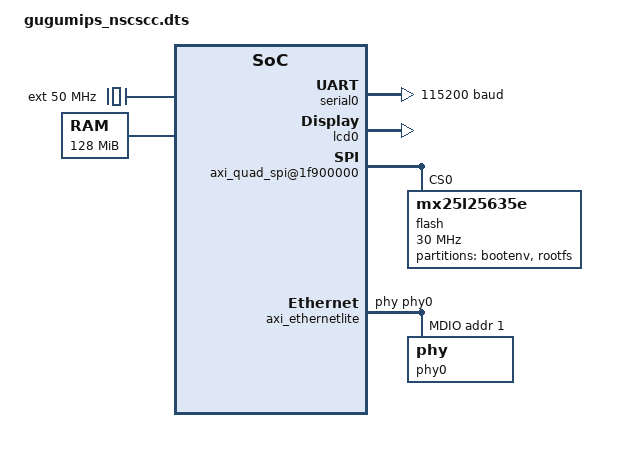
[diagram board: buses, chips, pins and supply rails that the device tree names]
/dts-v1/;

#include <dt-bindings/interrupt-controller/irq.h>

/ {
    compatible = "GuGuMIPS,NSCSCC";
    #address-cells = <1>;
    #size-cells = <1>;

    chosen {
        bootargs = "cca=0 console=ttyUL0,115200n8 rootfstype=jffs2 root=/dev/mtdblock1";
    };

    aliases {
        serial0 = &serial0;
    };

    cpus {
        #address-cells = <1>;
        #size-cells = <0>;
        cpu@0 {
            device_type = "cpu";
            compatible = "mips,4Kc";
            clocks = <&ext>;
            reg = <0>;
        };
    };

    ext: ext {
        compatible = "fixed-clock";
        #clock-cells = <0>;
    };

    memory {
        device_type = "memory";
        reg = <0x0 0x8000000>;
    };

    cpuintc: interrupt-controller@0 {
        #address-cells = <0>;
        #interrupt-cells = <1>;
        interrupt-controller;
        compatible = "mti,cpu-interrupt-controller";
    };

    soc {
        compatible = "simple-bus";
        #address-cells = <1>;
        #size-cells = <1>;
        ranges;

        axi_intc_0: interrupt-controller@1fe00000 {
            #interrupt-cells = <1>;
            compatible = "xlnx,xps-intc-1.00.a";
            interrupt-controller;
            interrupt-parent = <&cpuintc>;
            interrupts = <2>;
            reg = <0x1fe00000 0x1000>;
            xlnx,kind-of-intr = <0x27>;
            xlnx,num-intr-inputs = <0x6>;
        };


        serial0: serial@1fd00000 {
            device_type = "serial";
            compatible = "xlnx,xps-uartlite-1.00.a";
            reg = <0x1fd00000 0x1000>;
            current-speed = <115200>;
            clock-frequency = <50000000>;
            interrupt-parent = <&axi_intc_0>;
            interrupts = <1>;
        };

        lcd0: lcd@1f600000 {
            compatible = "lcd,nt35510";
            reg = <0x1f600000 0x1000>;
        };

        axi_quad_spi@1f900000 {
            #address-cells = <1>;
            #size-cells = <0>;
            compatible = "xlnx,xps-spi-2.00.a";
            interrupt-parent = <&axi_intc_0>;
            interrupts = <5>;
            reg = <0x1f900000 0x10000>;
            xlnx,num-ss-bits = <0x1>;
            num-cs = <0x1>;
            fifo-size = <256>;

            flash@0 {
                compatible = "mx25l25635e", "jedec,spi-nor";
                reg = <0x0>;
                spi-max-frequency = <30000000>;

                spi-rx-bus-width = <1>;
                m25p,fast-read;

                partitions {
                    compatible = "fixed-partitions";
                    #address-cells = <1>;
                    #size-cells = <1>;

                    partition@10000 {
                        label = "bootenv";
                        reg = <0x10000 0x10000>;
                    };
                    partition@20000 {
                        label = "rootfs";
                        reg = <0x20000 0x1fe0000>;
                    };
                };
            };
        };

        axi_ethernetlite: ethernet@1fb00000 {
            compatible = "xlnx,xps-ethernetlite-3.00.a";
            device_type = "network";
            local-mac-address = [02 02 03 03 03 03];
            phy-handle = <&phy0>;
            reg = <0x1fb00000 0x10000>;
            xlnx,duplex = <0x1>;
            xlnx,include-global-buffers = <0x1>;
            xlnx,include-internal-loopback = <0x0>;
            xlnx,include-mdio = <0x1>;
            xlnx,instance = "axi_ethernetlite_inst";
            xlnx,rx-ping-pong = <0x1>;
            xlnx,s-axi-id-width = <0x1>;
            xlnx,tx-ping-pong = <0x1>;
            xlnx,use-internal = <0x0>;
            interrupt-parent = <&axi_intc_0>;
            interrupts = <2>;
            mdio {
                #address-cells = <1>;
                #size-cells = <0>;
                phy0: phy@1 {
                    device_type = "ethernet-phy";
                    reg = <1>;
                };
            };
        };

        ps2: ps2@1f800000 {
            compatible = "altr,ps2-1.0";
            reg = <0x1f800000 0x1000>;
            interrupt-parent = <&axi_intc_0>;
            interrupts = <3>;
        };

        ue11: ue11@1e000000 {
            compatible = "ue11-hcd";
            reg = <0x1e000000 0x1000>;
            interrupt-parent = <&axi_intc_0>;
            interrupts = <4>;
        };
    };
};

&ext {
    clock-frequency = <50000000>;
};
